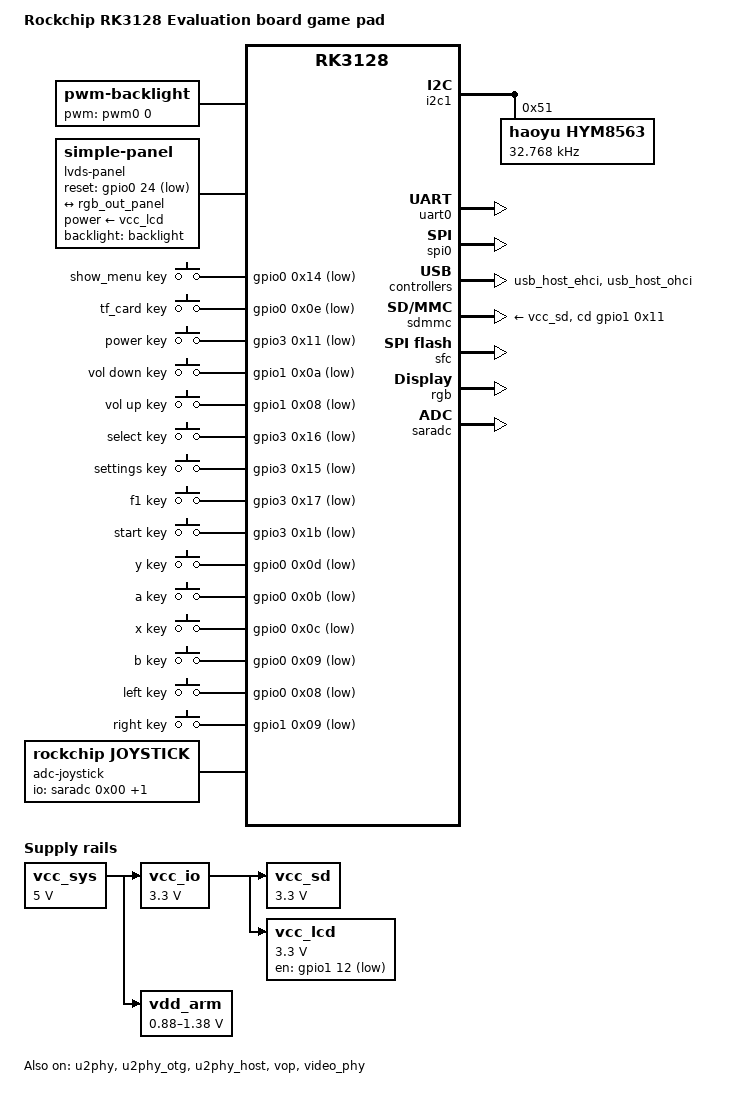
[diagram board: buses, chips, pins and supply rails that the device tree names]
/*
 * (C) Copyright 2017 Rockchip Electronics Co., Ltd
 *
 * SPDX-License-Identifier:     GPL-2.0+
 */

/dts-v1/;

#include "rk3128.dtsi"
#include "rk3128-u-boot.dtsi"
#include <linux/media-bus-format.h>

/ {
	model = "Rockchip RK3128 Evaluation board game pad";
	compatible = "rockchip,rk3128-evb", "rockchip,rk3128";

	vcc_sys: vcc-sys {
		compatible = "regulator-fixed";
		regulator-name = "vcc_sys";
		regulator-always-on;
		regulator-boot-on;
		regulator-min-microvolt = <5000000>;
		regulator-max-microvolt = <5000000>;
	};

    vcc_io: vcc-io {
        compatible = "regulator-fixed";
        pinctrl-names = "default";
        regulator-name = "vcc_io";
        regulator-min-microvolt = <0x325aa0>;
        regulator-max-microvolt = <0x325aa0>;
        regulator-boot-on;
        regulator-always-on;
        vin-supply = <&vcc_sys>;
    };

    vcc_sd: vcc-sd {
        compatible = "regulator-fixed";
        pinctrl-names = "default";
        pinctrl-0 = <0x69>;
        regulator-name = "vcc_sd";
        regulator-min-microvolt = <0x325aa0>;
        regulator-max-microvolt = <0x325aa0>;
        vin-supply = <&vcc_io>;
    };

    vcc_lcd: vcc-lcd {
        compatible = "regulator-fixed";
        gpio = <0x34 0x0c 0x01>;
        regulator-name = "vcc_lcd";
        regulator-min-microvolt = <0x325aa0>;
        regulator-max-microvolt = <0x325aa0>;
        vin-supply = <&vcc_io>;
        regulator-boot-on;
    };

/*add by tony*/
	vdd_arm: vdd-arm {
        compatible = "pwm-regulator";
        pwms = <&pwm1 0x00 5000 0x00>;
        regulator-name = "vdd_arm";
        regulator-min-microvolt = <880000>;
        regulator-max-microvolt = <1380000>;
        regulator-init-microvolt = <1325000>;
        regulator-early-min-microvolt = <1100000>;
        regulator-always-on;
        regulator-boot-on;
        pwm-supply = <&vcc_sys>;
        pwm-dutycycle-range = <100 0>;
        pwm-dutycycle-unit = <100>;
    };

    display-subsystem {
        compatible = "rockchip,display-subsystem";
        ports = <&vop_out>;
        status = "okay";

        route {

	    route-rgb {
                logo,uboot = "logo.bmp";
                logo,kernel = "logo_kernel.bmp";
                logo,mode = "fullscreen";
                charge_logo,mode = "center";
                connect = <&vop_out_rgb>;
                status = "okay";
            };


            route-lvds {
                logo,uboot = "logo.bmp";
                logo,kernel = "logo_kernel.bmp";
                logo,mode = "fullscreen";
                charge_logo,mode = "center";
                connect = <&vop_out_lvds>;
                status = "disable";
            };

            route-dsi {
                logo,uboot = "logo.bmp";
                logo,kernel = "logo_kernel.bmp";
                logo,mode = "fullscreen";
                charge_logo,mode = "center";
                connect = <&vop_out_dsi>;
                status = "disabled";
            };
        };
    };

	backlight: backlight {
        compatible = "pwm-backlight";
        brightness-levels = <
              0   1   2   3   4   5   6   7
              8   9  10  11  12  13  14  15
             16  17  18  19  20  21  22  23
             24  25  26  27  28  29  30  31
             32  33  34  35  36  37  38  39
             40  41  42  43  44  45  46  47
             48  49  50  51  52  53  54  55
             56  57  58  59  60  61  62  63
             64  65  66  67  68  69  70  71
             72  73  74  75  76  77  78  79
             80  81  82  83  84  85  86  87
             88  89  90  91  92  93  94  95
             96  97  98  99 100 101 102 103
            104 105 106 107 108 109 110 111
            112 113 114 115 116 117 118 119
            120 121 122 123 124 125 126 127
            128 129 130 131 132 133 134 135
            136 137 138 139 140 141 142 143
            144 145 146 147 148 149 150 151
            152 153 154 155 156 157 158 159
            160 161 162 163 164 165 166 167
            168 169 170 171 172 173 174 175
            176 177 178 179 180 181 182 183
            184 185 186 187 188 189 190 191
            192 193 194 195 196 197 198 199
            200 201 202 203 204 205 206 207
            208 209 210 211 212 213 214 215
            216 217 218 219 220 221 222 223
            224 225 226 227 228 229 230 231
            232 233 234 235 236 237 238 239
            240 241 242 243 244 245 246 247
            248 249 250 251 252 253 254 255>;
        default-brightness-level = <255>;
        pwms = <&pwm0 0 25000 0>;
        status = "okay";
    };

    vcc_lcd: vcc-lcd {
        compatible = "regulator-fixed";
        gpio = <&gpio1 12 1>;
        regulator-name = "vcc_lcd";
        regulator-min-microvolt = <3300000>;
        regulator-max-microvolt = <3300000>;
        vin-supply = <&vcc_io>;
    };

	lvds-panel {
        compatible = "simple-panel";
        power-supply = <&vcc_lcd>;
        backlight = <&backlight>;
		pinctrl-names = "default";
		pinctrl-0 = <&lcd_reset>;

        bus-format = <MEDIA_BUS_FMT_RGB666_1X18>;
        width-mm = <105>;
        height-mm = <67>;
        reset-gpios = <&gpio0 24 1>;
        reset-delay-ms = <60>;
		prepare-delay-ms = <100>;
		enable-delay-ms = <130>;
		rockchip,data-mapping = "jeida";
        rockchip,data-width = <18>;
        rockchip,output = "rgb";
		status = "okay";

        display-timings {
            native-mode = <&timing0>;

            timing0: timing0 {
                clock-frequency = <0x30d4000>;
                hactive = <0x400>;
                hback-porch = <0xa0>;
                hfront-porch = <0xa0>;
                hsync-len = <0x0a>;
                vactive = <0x258>;
                vback-porch = <0x17>;
                vfront-porch = <0x0c>;
                vsync-len = <0x0a>;
                hsync-active = <0x00>;
                vsync-active = <0x00>;
                de-active = <0x00>;
                pixelclk-active = <0x01>;
            };
        };

        port {

            panel_in_rgb: endpoint {
                remote-endpoint = <&rgb_out_panel>;
            };
        };
    };

	gpio-keys {
		status = "okay";
		compatible = "gpio-keys";
		autorepeat;
		pinctrl-names = "default";
		pinctrl-0 = <&game_keys>;

		tmppowerkey1 {
			gpios = <&gpio0 0x14 0x01>;
			linux,code = <0x3e>;
			label = "show_menu key";
			debounce-interval = <0x14>;
		};

		tmppowerkey2 {
			gpios = <&gpio0 0x0e 0x01>;
			linux,code = <0x44>;
			label = "tf_card key";
			debounce-interval = <0x14>;
		};

		powerdown {
			gpios = <&gpio3 0x11 0x01>;
			linux,code = <0x3c>;
			label = "power key";
			debounce-interval = <0x14>;
		};

		voldownkey {
			gpios = <&gpio1 0x0a 0x01>;
			linux,code = <0x4a>;
			label = "vol down key";
			debounce-interval = <0x14>;
		};

		volupkey {
			gpios = <&gpio1 0x08 0x01>;
			linux,code = <0x4e>;
			label = "vol up key";
			debounce-interval = <0x14>;
		};

		slectkey {
			gpios = <&gpio3 0x16 0x01>;
			linux,code = <0x2c>;
			label = "select key";
			debounce-interval = <0x14>;
		};

		esckey {
			gpios = <&gpio3 0x15 0x01>;
			linux,code = <0x3d>;
			label = "settings key";
			debounce-interval = <0x14>;
		};

		f1key {
			gpios = <&gpio3 0x17 0x01>;
			linux,code = <0x3b>;
			label = "f1 key";
			debounce-interval = <0x14>;
		};

		startkey {
			gpios = <&gpio3 0x1b 0x01>;
			linux,code = <0x2a>;
			label = "start key";
			debounce-interval = <0x14>;
		};

		xkey {
			gpios = <&gpio0 0x0d 0x01>;
			linux,code = <0x1e>;
			label = "y key";
			debounce-interval = <0x14>;
		};

		akey {
			gpios = <&gpio0 0x0b 0x01>;
			linux,code = <0x1c>;
			label = "a key";
			debounce-interval = <0x14>;
		};

		ykey {
			gpios = <&gpio0 0x0c 0x01>;
			linux,code = <0x2d>;
			label = "x key";
			debounce-interval = <0x14>;
		};

		bkey {
			gpios = <&gpio0 0x09 0x01>;
			linux,code = <0x0e>;
			label = "b key";
			debounce-interval = <0x14>;
		};

		leftkey {
			gpios = <&gpio0 0x08 0x01>;
			linux,code = <0x68>;
			label = "left key";
			debounce-interval = <0x14>;
		};

		rightkey {
			gpios = <&gpio1 0x09 0x01>;
			linux,code = <0x6d>;
			label = "right key";
			debounce-interval = <0x14>;
		};
	};


	adc-joystick {
		status = "okay";
		compatible = "rockchip,joystick";
		io-channels = <&saradc 0x00 &saradc 0x01>;
		io-channel-names = "adcX\0adcY";
		adc-drift = <0x0a>;

		upkey {
			gpios = <&gpio2 0x16 0x01>;
			linux,code = <0x67>;
			label = "up key";
			adc,channel = <0x01>;
		};

		downkey {
			gpios = <&gpio2 0x17 0x01>;
			linux,code = <0x6c>;
			label = "down key";
			adc,channel = <0x01>;
		};

		leftkey {
			gpios = <&gpio2 0x18 0x01>;
			linux,code = <0x69>;
			label = "left key";
			adc,channel = <0x00>;
		};

		rightkey {
			gpios = <&gpio2 0x19 0x01>;
			linux,code = <0x6a>;
			label = "right key";
			adc,channel = <0x00>;
		};
	};
};


&i2c1 {
	status = "okay";

        hym8563: hym8563@51 {
		compatible = "haoyu,hym8563";
		reg = <0x51>;
		#clock-cells = <0>;
		clock-frequency = <32768>;
		clock-output-names = "xin32k";
	};
};

&u2phy {
	status = "okay";
};

&u2phy_otg {
	status = "okay";
};

&u2phy_host {
	status = "okay";
};

&uart0 {
	status = "okay";
};

&spi0 {
	status = "okay";
};

&usb_host_ehci {
	status = "okay";
};

&usb_host_ohci {
	status = "okay";
};

&sdmmc {
	dmas = <&pdma 0x0a>;
	dma-names = "rx-tx";
	num-slots = <0x01>;
	clock-freq-min-max = <0x61a80 0x23c3460>;
    clock-frequency = <0x23c3460>;
    supports-highspeed;
    supports-sd;
    broken-cd;
    card-detect-delay = <0xc8>;
    ignore-pm-notify;
    keep-power-in-suspend;
    vmmc-supply = <&vcc_sd>;
    cd-gpios = <&gpio1 0x11 0x00>;
	status = "okay";
};

&vop {
	status = "okay";
};

&sfc {
	status = "okay";
};

&video_phy{
	status = "okay";
};

&rgb {
	status = "okay";
};

&rgb_out_panel{
	remote-endpoint=<&panel_in_rgb>;	
};

&pinctrl {
	buttons {
		game_keys: game-keys {
			rockchip,pins = 
			<0x00 0x08 0x00 &pcfg_pull_default>, 
			<0x00 0x09 0x00 &pcfg_pull_default>, 
			<0x00 0x0b 0x00 &pcfg_pull_default>, 
			<0x00 0x0c 0x00 &pcfg_pull_default>, 
			<0x00 0x0d 0x00 &pcfg_pull_default>, 
			<0x00 0x0e 0x00 &pcfg_pull_default>, 
			<0x00 0x14 0x00 &pcfg_pull_default>, 
	
			<0x01 0x08 0x00 &pcfg_pull_default>, 
			<0x01 0x09 0x00 &pcfg_pull_default>, 
			<0x01 0x0a 0x00 &pcfg_pull_default>, 

			<0x02 0x16 0x00 &pcfg_pull_default>, 
			<0x02 0x17 0x00 &pcfg_pull_default>, 
			<0x02 0x18 0x00 &pcfg_pull_default>, 
			<0x02 0x19 0x00 &pcfg_pull_default>, 

			<0x03 0x11 0x00 &pcfg_pull_default>,
			<0x03 0x16 0x00 &pcfg_pull_default>, 
			<0x03 0x15 0x00 &pcfg_pull_default>, 
			<0x03 0x17 0x00 &pcfg_pull_default>, 
			<0x03 0x1b 0x00 &pcfg_pull_default>; 
	
		};
	};
};

&saradc {
	u-boot,dm-pre-reloc;
	status = "okay";
};

